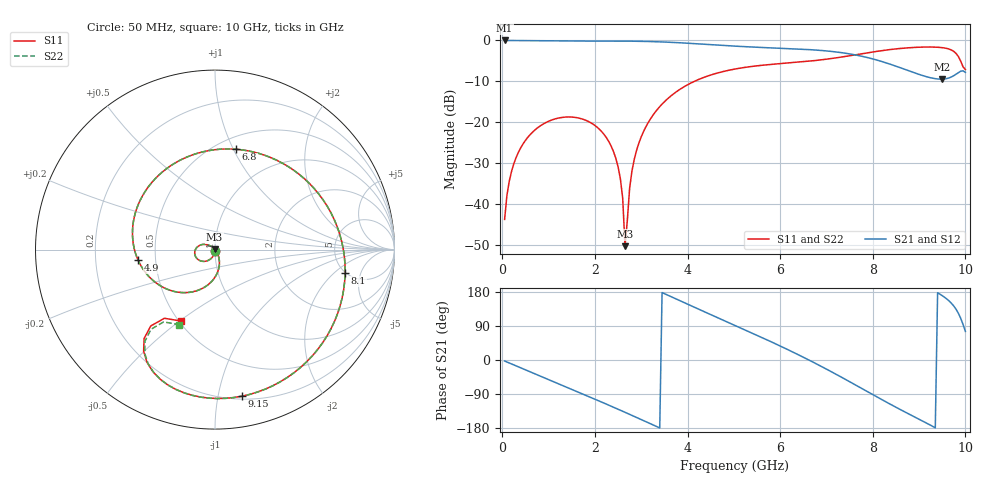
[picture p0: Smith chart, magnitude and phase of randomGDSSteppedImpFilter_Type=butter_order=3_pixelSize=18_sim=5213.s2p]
! freq	dB(S11)	phase(S11)	dB(S12)	phase(S12)
!  dB(S21)	phase(S21)	dB(S22)	phase(S22)
!S-par simulation data
#  GHz  S  DB  R 50
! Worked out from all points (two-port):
!   200 points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, 50 MHz to 10 GHz, reference 50 ohm
!   highest |S21| = -0.01 dB at 50 MHz (marker M1); lowest = -9.5 dB at 9.5 GHz (marker M2)
!   |S21| within 3 dB of the highest: start of sweep to 7.334 GHz
!   lowest |S11| = -50.4 dB at 2.65 GHz (marker M3), VSWR 1.01, Z = 49.7 + j0.153 ohm
!   |S11| at or under -10 dB: start of sweep to 4.151 GHz
!   |S22| runs from -50.7 to -1.6 dB; largest |S21 - S12| = 0
!   S11 on the Smith chart (normalised r, x): 50 MHz: 1.00, -0.01; 4.9 GHz: 0.40, -0.06; 6.8 GHz: 0.62, +1.02; 8.1 GHz: 4.94, -2.81; 9.15 GHz: 0.22, -1.17; 10 GHz: 0.51, -0.51
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0.05  -43.80 -90.2  -0.01 -2.6  -0.01 -2.6  -43.80 -90.2
0.2  -32.03 -99.9  -0.02 -10.5  -0.02 -10.5  -32.03 -99.9
0.55  -23.73 -118.9  -0.06 -28.6  -0.06 -28.6  -23.73 -118.9
1.75  -19.32 179.0  -0.16 -90.4  -0.16 -90.4  -19.32 178.9
2.45  -28.80 143.1  -0.16 -127.2  -0.16 -127.2  -28.81 142.3
2.6  -38.61 137.8  -0.17 -135.3  -0.17 -135.3  -38.63 135.2
2.65  -50.36 149.6  -0.17 -138.0  -0.17 -138.0  -50.74 137.8
2.75  -36.13 -57.5  -0.18 -143.4  -0.18 -143.4  -36.14 -55.4
2.85  -29.09 -61.2  -0.19 -148.9  -0.19 -148.9  -29.09 -60.2
3.4  -16.20 -90.4  -0.35 -179.3  -0.35 -179.3  -16.20 -90.1
4.9  -7.28 -172.2  -1.32 98.1  -1.32 98.1  -7.28 -172.2
5.05  -6.95 179.7  -1.41 89.9  -1.41 89.9  -6.95 179.7
6  -5.68 126.8  -1.91 37.0  -1.91 37.0  -5.68 126.8
6.7  -4.99 84.5  -2.30 -5.0  -2.30 -5.0  -4.99 84.5
6.8  -4.86 78.1  -2.38 -11.3  -2.38 -11.3  -4.86 78.1
7.5  -3.75 31.5  -3.30 -57.2  -3.30 -57.2  -3.75 31.5
8.1  -2.66 -10.2  -4.84 -98.1  -4.84 -98.1  -2.66 -10.1
8.35  -2.27 -27.4  -5.72 -114.8  -5.72 -114.8  -2.27 -27.3
9.15  -1.61 -79.7  -8.85 -165.8  -8.85 -165.8  -1.61 -79.5
9.5  -1.77 -102.4  -9.47 169.8  -9.47 169.8  -1.75 -102.0
9.8  -3.20 -125.1  -8.25 133.7  -8.25 133.7  -3.12 -124.1
10  -7.12 -115.5  -7.82 75.4  -7.82 75.4  -6.69 -115.7
